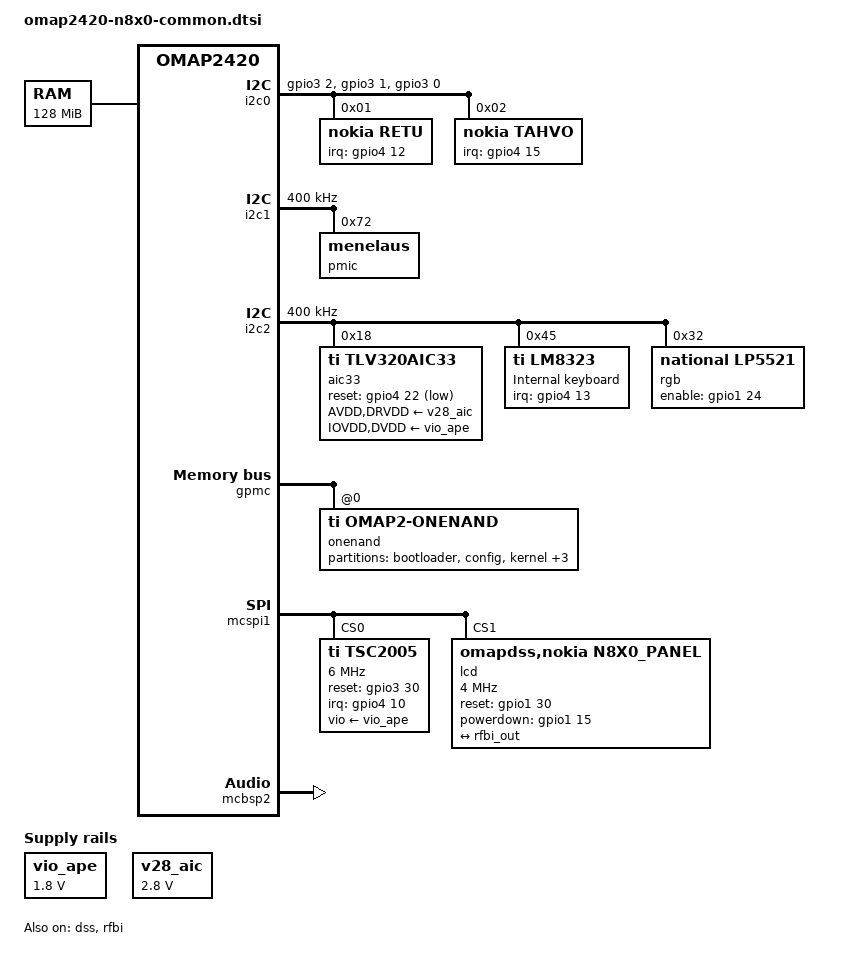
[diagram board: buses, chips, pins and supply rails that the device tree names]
// SPDX-License-Identifier: GPL-2.0
#include "omap2420.dtsi"
#include <dt-bindings/input/input.h>

/ {
	memory@80000000 {
		device_type = "memory";
		reg = <0x80000000 0x8000000>; /* 128 MB */
	};

	chosen {
		stdout-path = &uart3;
	};

	ocp {
		i2c0 {
			compatible = "i2c-cbus-gpio";
			gpios = <&gpio3 2 GPIO_ACTIVE_HIGH /* gpio66 clk */
				 &gpio3 1 GPIO_ACTIVE_HIGH /* gpio65 dat */
				 &gpio3 0 GPIO_ACTIVE_HIGH /* gpio64 sel */
				>;
			#address-cells = <1>;
			#size-cells = <0>;
			retu: retu@1 {
				compatible = "nokia,retu";
				interrupt-parent = <&gpio4>;
				interrupts = <12 IRQ_TYPE_EDGE_RISING>;
				reg = <0x1>;
			};
			tahvo: tahvo@2 {
				compatible = "nokia,tahvo";
				interrupt-parent = <&gpio4>;
				interrupts = <15 IRQ_TYPE_EDGE_RISING>;
				reg = <0x2>;
			};
		};
	};

	vio_ape: vio_ape {
		compatible = "regulator-fixed";
		regulator-name = "vio_ape";
		regulator-min-microvolt = <1800000>;
		regulator-max-microvolt = <1800000>;
	};

	v28_aic: v28_aic {
		compatible = "regulator-fixed";
		regulator-name = "v28_aic";
		regulator-min-microvolt = <2800000>;
		regulator-max-microvolt = <2800000>;
	};
};

&i2c1 {
	clock-frequency = <400000>;

	pmic@72 {
		compatible = "menelaus";
		reg = <0x72>;
		interrupt-parent = <&intc>;
		interrupts = <7 IRQ_TYPE_EDGE_RISING>;
	};
};

&omap2420_pmx {
	mcbsp2_pins: mcbsp2_pins {
		pinctrl-single,pins = <
			OMAP2420_CORE_IOPAD(0x0124, PIN_INPUT | MUX_MODE1)	/* eac_ac_sclk.mcbsp2_clkx */
			OMAP2420_CORE_IOPAD(0x0125, PIN_INPUT | MUX_MODE1)	/* eac_ac_fs.mcbsp2_fsx */
			OMAP2420_CORE_IOPAD(0x0126, PIN_INPUT | MUX_MODE1)	/* eac_ac_din.mcbsp2_dr */
			OMAP2420_CORE_IOPAD(0x0127, PIN_OUTPUT | MUX_MODE1)	/* eac_ac_dout.mcbsp2_dx */
		>;
	};

	aic33_pins: aic33_pins {
		pinctrl-single,pins = <
			OMAP2420_CORE_IOPAD(0x0129, PIN_OUTPUT | MUX_MODE3)	/* eac_ac_rst.gpio118 */
			OMAP2420_CORE_IOPAD(0x00e8, PIN_OUTPUT | MUX_MODE2)	/* vlynq_tx1.sys_clkout2 */
		>;
	};

	n8x0_panel_pins: pinmux_n8x0_panel_pins {
		pinctrl-single,pins = <
			OMAP2420_CORE_IOPAD(0x0098, PIN_OUTPUT | MUX_MODE3)	/* N8X0_LCD_RESET_GPIO, gpmc_nbe1.gpio_30 */
			OMAP2420_CORE_IOPAD(0x00e7, PIN_OUTPUT | MUX_MODE3)	/* N8X0_POWERDOWN_GPIO, vlynq_rx0.gpio_15 */
		>;
	};
	dss_rfbi_pins: pinmux_dss_rfbi_pins {
		pinctrl-single,pins = <
			OMAP2420_CORE_IOPAD(0x00b3, PIN_OUTPUT | MUX_MODE0)	/* dss_d0 */
			OMAP2420_CORE_IOPAD(0x00b4, PIN_OUTPUT | MUX_MODE0)	/* dss_d1 */
			OMAP2420_CORE_IOPAD(0x00b5, PIN_OUTPUT | MUX_MODE0)	/* dss_d2 */
			OMAP2420_CORE_IOPAD(0x00b6, PIN_OUTPUT | MUX_MODE0)	/* dss_d3 */
			OMAP2420_CORE_IOPAD(0x00b7, PIN_OUTPUT | MUX_MODE0)	/* dss_d4 */
			OMAP2420_CORE_IOPAD(0x00b8, PIN_OUTPUT | MUX_MODE0)	/* dss_d5 */
			OMAP2420_CORE_IOPAD(0x00b9, PIN_OUTPUT | MUX_MODE0)	/* dss_d6 */
			OMAP2420_CORE_IOPAD(0x00ba, PIN_OUTPUT | MUX_MODE0)	/* dss_d7 */
			OMAP2420_CORE_IOPAD(0x00bb, PIN_OUTPUT | MUX_MODE0)	/* dss_d8 */
			OMAP2420_CORE_IOPAD(0x00bc, PIN_OUTPUT | MUX_MODE0)	/* dss_d9 */
			OMAP2420_CORE_IOPAD(0x00bd, PIN_OUTPUT | MUX_MODE0)	/* dss_d10 */
			OMAP2420_CORE_IOPAD(0x00be, PIN_OUTPUT | MUX_MODE0)	/* dss_d11 */
			OMAP2420_CORE_IOPAD(0x00bf, PIN_OUTPUT | MUX_MODE0)	/* dss_d12 */
			OMAP2420_CORE_IOPAD(0x00c0, PIN_OUTPUT | MUX_MODE0)	/* dss_d13 */
			OMAP2420_CORE_IOPAD(0x00c1, PIN_OUTPUT | MUX_MODE0)	/* dss_d14 */
			OMAP2420_CORE_IOPAD(0x00c2, PIN_OUTPUT | MUX_MODE0)	/* dss_d15 */
			OMAP2420_CORE_IOPAD(0x00c3, PIN_OUTPUT | MUX_MODE0)	/* dss_d16 */
			OMAP2420_CORE_IOPAD(0x00cb, PIN_OUTPUT | MUX_MODE0)	/* dss_pclk/rdx */
			OMAP2420_CORE_IOPAD(0x00cc, PIN_OUTPUT | MUX_MODE0)	/* dss_vsync/wrx */
			OMAP2420_CORE_IOPAD(0x00cd, PIN_OUTPUT | MUX_MODE0)	/* dss_hsync/csx */
			OMAP2420_CORE_IOPAD(0x00ce, PIN_OUTPUT | MUX_MODE0)	/* dss_acbias/data_en/cmd */
		>;
	};
};

&i2c2 {
	clock-frequency = <400000>;

	aic33@18 {
		compatible = "ti,tlv320aic33";
		reg = <0x18>;

		pinctrl-names = "default";
		pinctrl-0 = <&aic33_pins>;

		gpio-reset = <&gpio4 22 GPIO_ACTIVE_LOW>; /* gpio118 */

		ai3x-gpio-func = <
			10 /* AIC3X_GPIO1_FUNC_DIGITAL_MIC_MODCLK */
			5 /* AIC3X_GPIO2_FUNC_DIGITAL_MIC_INPUT */
		>;
		ai3x-micbias-vg = <1>; /* 2V */

		AVDD-supply = <&v28_aic>;
		DRVDD-supply = <&v28_aic>;
		IOVDD-supply = <&vio_ape>;
		DVDD-supply = <&vio_ape>;

		assigned-clocks = <&sys_clkout2_src>, <&sys_clkout2>;
		assigned-clock-parents = <&func_96m_ck>;
		assigned-clock-rates = <0>, <12000000>;
	};

	lm8323@45 {
		compatible = "ti,lm8323";
		reg = <0x45>;
		interrupts-extended = <&gpio4 13 IRQ_TYPE_LEVEL_LOW>; // gpio109

		label = "Internal keyboard";
		pwm-names = "n810::keyboard", "n810::cover";

		repeat = <0>;  // Repeat is handled in userspace for now.
		debounce-ms = <30>;
		active-ms = <500>;

		keypad,num-columns = <12>;
		keypad,num-rows = <8>;

		linux,keymap = <
			MATRIX_KEY(0x00, 0x00, KEY_Q)
			MATRIX_KEY(0x00, 0x01, KEY_K)
			MATRIX_KEY(0x00, 0x02, KEY_O)
			MATRIX_KEY(0x00, 0x03, KEY_P)
			MATRIX_KEY(0x00, 0x04, KEY_BACKSPACE)
			MATRIX_KEY(0x00, 0x05, KEY_A)
			MATRIX_KEY(0x00, 0x06, KEY_S)
			MATRIX_KEY(0x00, 0x07, KEY_D)
			MATRIX_KEY(0x00, 0x08, KEY_F)
			MATRIX_KEY(0x00, 0x09, KEY_G)
			MATRIX_KEY(0x00, 0x0a, KEY_H)
			MATRIX_KEY(0x00, 0x0b, KEY_J)

			MATRIX_KEY(0x01, 0x00, KEY_W)
			MATRIX_KEY(0x01, 0x01, KEY_F4)
			MATRIX_KEY(0x01, 0x02, KEY_L)
			MATRIX_KEY(0x01, 0x03, KEY_APOSTROPHE)
			MATRIX_KEY(0x01, 0x05, KEY_Z)
			MATRIX_KEY(0x01, 0x06, KEY_X)
			MATRIX_KEY(0x01, 0x07, KEY_C)
			MATRIX_KEY(0x01, 0x08, KEY_V)
			MATRIX_KEY(0x01, 0x09, KEY_B)
			MATRIX_KEY(0x01, 0x0a, KEY_N)
			MATRIX_KEY(0x01, 0x0b, KEY_LEFTSHIFT) // Actually, this is both shift keys
			MATRIX_KEY(0x01, 0x0e, KEY_F7)

			MATRIX_KEY(0x02, 0x00, KEY_E)
			MATRIX_KEY(0x02, 0x01, KEY_SEMICOLON)
			MATRIX_KEY(0x02, 0x02, KEY_MINUS)
			MATRIX_KEY(0x02, 0x03, KEY_EQUAL)
			MATRIX_KEY(0x02, 0x0a, KEY_LEFTALT) // FN as Left-Alt
			// MATRIX_KEY(0x02, 0x0a, KEY_FN) // Normal FN
			MATRIX_KEY(0x02, 0x0b, KEY_M)
			MATRIX_KEY(0x02, 0x0e, KEY_F8)

			MATRIX_KEY(0x03, 0x00, KEY_R)
			MATRIX_KEY(0x03, 0x01, KEY_RIGHTCTRL)
			MATRIX_KEY(0x03, 0x03, KEY_SPACE)
			MATRIX_KEY(0x03, 0x04, KEY_COMMA)
			MATRIX_KEY(0x03, 0x06, KEY_UP)
			MATRIX_KEY(0x03, 0x0b, KEY_COMPOSE)
			MATRIX_KEY(0x03, 0x0e, KEY_F6)

			MATRIX_KEY(0x04, 0x00, KEY_T)
			MATRIX_KEY(0x04, 0x03, KEY_DOT)
			MATRIX_KEY(0x04, 0x05, KEY_RIGHT)
			MATRIX_KEY(0x04, 0x0e, KEY_F5)

			MATRIX_KEY(0x05, 0x00, KEY_Y)
			MATRIX_KEY(0x05, 0x02, KEY_DOWN)
			MATRIX_KEY(0x05, 0x04, KEY_ENTER)
			MATRIX_KEY(0x05, 0x0e, KEY_ESC)

			MATRIX_KEY(0x06, 0x00, KEY_U)
			MATRIX_KEY(0x06, 0x03, KEY_LEFT)

			MATRIX_KEY(0x07, 0x00, KEY_I)
			MATRIX_KEY(0x07, 0x04, KEY_KPENTER)
			>;
	};

	lp5521@32 {
		compatible = "national,lp5521";
		reg = <0x32>;
		clock-mode = /bits/ 8 <2>;
		label = "rgb";
		enable-gpio = <&gpio1 24 GPIO_ACTIVE_HIGH>;
		interrupts = <&gpio1 27 IRQ_TYPE_EDGE_RISING>;
		chan0 {
			chan-name = "red";
			led-cur = /bits/ 8 <0x2f>;
			max-cur = /bits/ 8 <0x5f>;
			linux,default-trigger = "panic";
		};
		chan1 {
			chan-name = "green";
			led-cur = /bits/ 8 <0x2f>;
			max-cur = /bits/ 8 <0x5f>;
		};
		chan2 {
			chan-name = "blue";
			led-cur = /bits/ 8 <0x2f>;
			max-cur = /bits/ 8 <0x5f>;
			linux,default-trigger = "heartbeat";
		};

	};
};

&gpmc {
	ranges = <0 0 0x04000000 0x1000000>;	/* CS0: 16MB for OneNAND */

	/* gpio-irq for dma: 26 */

	onenand@0,0 {
		#address-cells = <1>;
		#size-cells = <1>;
		compatible = "ti,omap2-onenand";
		reg = <0 0 0x20000>;	/* CS0, offset 0, IO size 128K */

		gpmc,sync-read;
		gpmc,burst-length = <16>;
		gpmc,burst-read;
		gpmc,burst-wrap;
		gpmc,device-width = <2>;
		gpmc,mux-add-data = <2>;
		gpmc,cs-on-ns = <0>;
		gpmc,cs-rd-off-ns = <127>;
		gpmc,cs-wr-off-ns = <109>;
		gpmc,adv-on-ns = <0>;
		gpmc,adv-rd-off-ns = <18>;
		gpmc,adv-wr-off-ns = <18>;
		gpmc,oe-on-ns = <27>;
		gpmc,oe-off-ns = <127>;
		gpmc,we-on-ns = <27>;
		gpmc,we-off-ns = <72>;
		gpmc,rd-cycle-ns = <145>;
		gpmc,wr-cycle-ns = <136>;
		gpmc,access-ns = <118>;
		gpmc,page-burst-access-ns = <27>;
		gpmc,bus-turnaround-ns = <0>;
		gpmc,cycle2cycle-delay-ns = <0>;
		gpmc,wait-monitoring-ns = <0>;
		gpmc,clk-activation-ns = <9>;
		gpmc,sync-clk-ps = <27000>;

		/* MTD partition table corresponding to old board-n8x0 file. */
		partition@0 {
			label = "bootloader";
			reg = <0x00000000 0x00020000>;
			read-only;
		};
		partition@1 {
			label = "config";
			reg = <0x00020000 0x00060000>;
		};
		partition@2 {
			label = "kernel";
			reg = <0x00080000 0x00200000>;
		};
		partition@3 {
			label = "initfs";
			reg = <0x00280000 0x00400000>;
		};
		partition@4 {
			label = "rootfs";
			reg = <0x00680000 0x0f980000>;
		};
		partition@5 {
			label = "omap2-onenand";
			reg = <0x00000000 0x10000000>;
		};
	};
};

&gpio1 {
	ti,no-reset-on-init;
};

&dss {
	status = "okay";
	ti,no-reset-on-init;
};

&dispc {
	ti,no-reset-on-init;
};

&rfbi {
	status = "okay";
	ti,no-reset-on-init;
	pinctrl-names = "default";
	pinctrl-0 = <&dss_rfbi_pins>;

	port {
		rfbi_out: endpoint {
			remote-endpoint = <&lcd_in>;
			data-lines = <24>;
		};
	};
};

&mcspi1 {
	status = "okay";
	ti,spi-num-cs = <2>;
	#address-cells = <1>;
	#size-cells = <0>;
	tsc2005@0 {
		compatible = "ti,tsc2005";
		spi-max-frequency = <6000000>;
		reg = <0>;

		vio-supply = <&vio_ape>;

		reset-gpios = <&gpio3 30 GPIO_ACTIVE_HIGH>; /* 94 */
		interrupts-extended = <&gpio4 10 IRQ_TYPE_EDGE_RISING>; /* 106 */

		touchscreen-fuzz-x = <4>;
		touchscreen-fuzz-y = <7>;
		touchscreen-fuzz-pressure = <2>;
		touchscreen-size-x = <4096>;
		touchscreen-size-y = <4096>;
		touchscreen-max-pressure = <2048>;

		ti,x-plate-ohms = <280>;
		ti,esd-recovery-timeout-ms = <8000>;
	};

	lcd: n8x0_panel@1 {
		compatible = "omapdss,nokia,n8x0_panel";
		spi-max-frequency = <4000000>;
		reg = <1>;

		pinctrl-names = "default";
		pinctrl-0 = <&n8x0_panel_pins>;

		clocks = <&osc_ck>;
		clock-names = "osc_ck";

		label = "lcd";
		reset-gpios = <&gpio1 30 GPIO_ACTIVE_HIGH>; /* 30 */
		powerdown-gpio = <&gpio1 15 GPIO_ACTIVE_HIGH>; /* 15 */

		port {
			lcd_in: endpoint {
				remote-endpoint = <&rfbi_out>;
			};
		};
	};
};

&mcbsp2 {
	pinctrl-names = "default";
	pinctrl-0 = <&mcbsp2_pins>;

	status = "okay";
};
